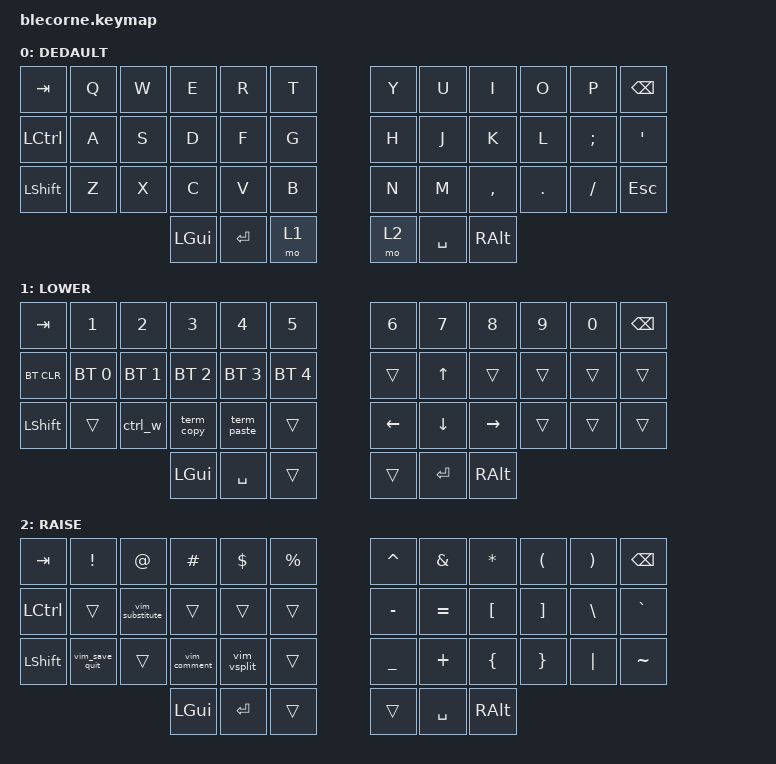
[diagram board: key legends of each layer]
/*
 * Copyright (c) 2020 The ZMK Contributors
 *
 * SPDX-License-Identifier: MIT
 */

#include <behaviors.dtsi>
#include <dt-bindings/zmk/keys.h>
#include <dt-bindings/zmk/bt.h>

/ {
        macros {
                vim_substitute: vim_substitute {
                        compatible = "zmk,behavior-macro";
                        #binding-cells = <0>;
                        bindings = <&kp COLON &kp S>;
                };

                vim_comment: vim_comment {
                        compatible = "zmk,behavior-macro";
                        #binding-cells = <0>;
                        bindings = <&kp G &kp G &kp C>;
                };

                vim_vsplit: vim_vsplit {
                        compatible = "zmk,behavior-macro";
                        #binding-cells = <0>;
                        bindings = <&kp COLON &kp V &kp S &kp P &kp L &kp I &kp T &kp ENTER>;
                };

                vim_save_quit: vim_save_quit {
                        compatible = "zmk,behavior-macro";
                        #binding-cells = <0>;
                        bindings = <&kp COLON &kp W &kp Q &kp ENTER>;
                };

                term_copy: term_copy {
                        compatible = "zmk,behavior-macro";
                        #binding-cells = <0>;
                        bindings = <&kp LC(LS(C))>;
                };

                term_paste: term_paste {
                        compatible = "zmk,behavior-macro";
                        #binding-cells = <0>;
                        bindings = <&kp LC(LS(V))>;
                };

                ctrl_w: ctrl_w {
                        compatible = "zmk,behavior-macro";
                        #binding-cells = <0>;
                        bindings = <&kp LC(W)>;
                };
        };

        keymap {
                compatible = "zmk,keymap";

                default_layer {
// -----------------------------------------------------------------------------------------
// |  TAB |  Q  |  W  |  E  |  R  |  T  |   |  Y  |  U   |  I  |  O  |  P  | BKSP |
// | CTRL |  A  |  S  |  D  |  F  |  G  |   |  H  |  J   |  K  |  L  |  ;  |  '   |
// | SHFT |  Z  |  X  |  C  |  V  |  B  |   |  N  |  M   |  ,  |  .  |  /  | ESC  |
//                    | GUI | LWR | SPC |   | ENT | RSE  | ALT |
                        bindings = <
   &kp TAB   &kp Q &kp W &kp E &kp R &kp T   &kp Y &kp U  &kp I     &kp O   &kp P    &kp BSPC
   &kp LCTRL &kp A &kp S &kp D &kp F &kp G   &kp H &kp J  &kp K     &kp L   &kp SEMI &kp SQT
   &kp LSHFT &kp Z &kp X &kp C &kp V &kp B   &kp N &kp M  &kp COMMA &kp DOT &kp FSLH &kp ESC
                  &kp LGUI &kp RET &mo 1   &mo 2 &kp SPACE &kp RALT
                        >;

			label = "DEDAULT";
                };
                lower_layer {
// -----------------------------------------------------------------------------------------
// |  TAB |  1  |  2  |  3  |  4  |  5  |   |  6  |  7  |  8  |  9  |  0  | BKSP |
// | BTCLR| BT1 | BT2 | BT3 | BT4 | BT5 |   | LFT | DWN |  UP | RGT |     |      |
// | SHFT |     |     |     |     |     |   |     |     |     |     |     |      |
//                    | GUI |     | SPC |   | ENT |     | ALT |
                        bindings = <
   &kp TAB    &kp N1       &kp N2       &kp N3       &kp N4       &kp N5         &kp N6   &kp N7   &kp N8 &kp N9    &kp N0 &kp BSPC
   &bt BT_CLR &bt BT_SEL 0 &bt BT_SEL 1 &bt BT_SEL 2 &bt BT_SEL 3 &bt BT_SEL 4   &trans &kp UP &trans &trans &trans &trans
   &kp LSHFT  &trans       &ctrl_w      &term_copy   &term_paste  &trans         &kp LEFT &kp DOWN &kp RIGHT &trans &trans &trans
                                    &kp LGUI     &kp SPACE       &trans      &trans  &kp RET   &kp RALT
                        >;

			label = "LOWER";
                };

                raise_layer {
// -----------------------------------------------------------------------------------------
// |  TAB |  !  |  @  |  #  |  $  |  %  |   |  ^  |  &  |  *  |  (  |  )  | BKSP |
// | CTRL |     |     |     |     |     |   |  -  |  =  |  [  |  ]  |  \  |  `   |
// | SHFT |     |     |     |     |     |   |  _  |  +  |  {  |  }  | "|" |  ~   |
//                    | GUI |     | SPC |   | ENT |     | ALT |
                        bindings = <
   &kp  TAB  &kp EXCL &kp AT &kp HASH &kp DLLR &kp PRCNT   &kp CARET &kp AMPS  &kp ASTRK &kp LPAR &kp RPAR &kp BSPC
   &kp LCTRL &trans   &vim_substitute &trans   &trans   &trans      &kp MINUS &kp EQUAL &kp LBKT  &kp RBKT &kp BSLH &kp GRAVE
   &kp LSHFT &vim_save_quit   &trans &vim_comment   &vim_vsplit   &trans      &kp UNDER &kp PLUS  &kp LBRC  &kp RBRC &kp PIPE &kp TILDE
                             &kp LGUI &kp RET   &trans   &trans   &kp SPACE    &kp RALT
                        >;

			label = "RAISE";
                };
        };
};
